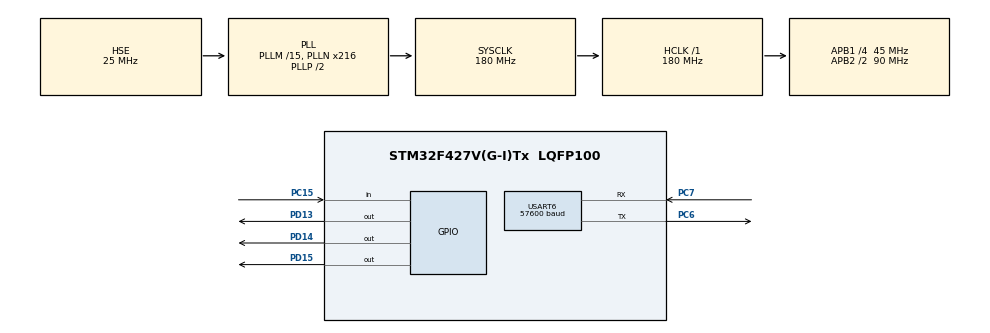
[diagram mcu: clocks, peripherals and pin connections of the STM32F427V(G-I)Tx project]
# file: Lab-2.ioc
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Mcu.Family=STM32F4
Mcu.Name=STM32F427V(G-I)Tx
Mcu.Package=LQFP100
NVIC.PriorityGroup=NVIC_PRIORITYGROUP_4
NVIC.USART6_IRQn=true\:0\:0\:false\:false\:true\:true\:true\:true
PA13.Mode=JTAG_5_pins
PA13.Signal=SYS_JTMS-SWDIO
PA14.Mode=JTAG_5_pins
PA14.Signal=SYS_JTCK-SWCLK
PA15.Mode=JTAG_5_pins
PA15.Signal=SYS_JTDI
PB3.Mode=JTAG_5_pins
PB3.Signal=SYS_JTDO-SWO
PB4.Mode=JTAG_5_pins
PB4.Signal=SYS_JTRST
PC15/OSC32_OUT.Signal=GPIO_Input
PC6.Mode=Asynchronous
PC6.Signal=USART6_TX
PC7.Mode=Asynchronous
PC7.Signal=USART6_RX
PD13.Signal=GPIO_Output
PD14.Signal=GPIO_Output
PD15.Signal=GPIO_Output
PH0/OSC_IN.Mode=HSE-External-Oscillator
PH0/OSC_IN.Signal=RCC_OSC_IN
PH1/OSC_OUT.Mode=HSE-External-Oscillator
PH1/OSC_OUT.Signal=RCC_OSC_OUT
ProjectManager.HeapSize=0x200
ProjectManager.StackSize=0x400
ProjectManager.TargetToolchain=STM32CubeIDE
RCC.48MHZClocksFreq_Value=90000000
RCC.AHBFreq_Value=180000000
RCC.APB1CLKDivider=RCC_HCLK_DIV4
RCC.APB1Freq_Value=45000000
RCC.APB1TimFreq_Value=90000000
RCC.APB2CLKDivider=RCC_HCLK_DIV2
RCC.APB2Freq_Value=90000000
RCC.APB2TimFreq_Value=180000000
RCC.CortexFreq_Value=180000000
RCC.HCLKFreq_Value=180000000
RCC.HSE_VALUE=25000000
RCC.HSI_VALUE=16000000
RCC.LSE_VALUE=32768
RCC.PLLM=15
RCC.PLLN=216
RCC.PLLSourceVirtual=RCC_PLLSOURCE_HSE
RCC.SYSCLKFreq_VALUE=180000000
RCC.SYSCLKSource=RCC_SYSCLKSOURCE_PLLCLK
RCC.VCOOutputFreq_Value=360000000
USART6.BaudRate=57600
USART6.VirtualMode=VM_ASYNC
board=custom

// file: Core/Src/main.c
/* USER CODE BEGIN Header */
/**
  ******************************************************************************
  * @file           : main.c
  * @brief          : Main program body
  ******************************************************************************
  * @attention
  *
  * Copyright (c) 2023 STMicroelectronics.
  * All rights reserved.
  *
  * This software is licensed under terms that can be found in the LICENSE file
  * in the root directory of this software component.
  * If no LICENSE file comes with this software, it is provided AS-IS.
  *
  ******************************************************************************
  */
/* USER CODE END Header */
#include "main.h"
#include "usart.h"
#include "gpio.h"

/* USER CODE BEGIN Includes */
#include <string.h>
#include <stdio.h>

/* USER CODE END Includes */

/* USER CODE BEGIN PV */
uint16_t GREEN = GPIO_PIN_13;
uint16_t YELLOW = GPIO_PIN_14;
uint16_t RED = GPIO_PIN_15;
uint16_t BLINKING_GREEN = 0;
uint8_t INT_ON = 1;
uint8_t INT_OFF = 0;

uint16_t current_light = 1;
uint32_t start_time;
uint32_t duration = 3000;
uint32_t duration_for_red;
uint32_t duration_for_yellow = 3000;
uint32_t blink_duration = 500;
uint32_t blink_count = 6;
uint8_t button_flag = 0;

uint8_t interrupts_mode = 1;
uint8_t is_writing_now = 0;
char read_buffer[100];
char write_buffer[100];
uint8_t status;
char *cur_process_char = read_buffer;
char *cur_read_char = read_buffer;
char *transmit_from_pointer = write_buffer;
char *write_to_pointer = write_buffer;

/* USER CODE END PV */

void SystemClock_Config(void);

/* USER CODE BEGIN 0 */

void wait(uint32_t duration) {
    uint32_t startTime = HAL_GetTick();
    while ((HAL_GetTick() - startTime) < duration) {
    }
}

void turn_all_off() {
    HAL_GPIO_WritePin(GPIOD, GPIO_PIN_13, GPIO_PIN_RESET);
    HAL_GPIO_WritePin(GPIOD, GPIO_PIN_14, GPIO_PIN_RESET);
    HAL_GPIO_WritePin(GPIOD, GPIO_PIN_15, GPIO_PIN_RESET);
}

void turn_specific_light_on(uint16_t light) {
    turn_all_off();
    HAL_GPIO_WritePin(GPIOD, light, GPIO_PIN_SET);
}

void blink_specific_light(uint32_t count, uint16_t light, uint32_t blinkDuration) {
    for (uint32_t i = 0; i < count; i++) {

        turn_all_off();
        wait(blinkDuration);

        turn_specific_light_on(light);
        wait(blinkDuration);
    }
}

int check_starts_with(char *a, char *b) {
    size_t i = 0;
    while (a[i] != '\0') {
        if (a[i] != b[i]) return 0;
        i++;
    }
    return 1;
}

char *concat(char *s1, char *s2) {
    char *result = malloc(strlen(s1) + strlen(s2) + 1);
    strcpy(result, s1);
    strcat(result, s2);
    return result;
}

void next(char **pointer, char *buffer) {
    if (*pointer >= buffer + 100) {
        *pointer = buffer;
    } else {
        (*pointer)++;
    }
}

void write_char_to_buff(char c) {
    *write_to_pointer = c;
    next(&write_to_pointer, write_buffer);
}

void append_to_sending_buffer_by_uart(char *str) {
    char *str_with_newlines = concat("\r\n", str);
    str_with_newlines = concat(str_with_newlines, "\r\n");
    int size = sizeof(char) * strlen(str_with_newlines);
    if (interrupts_mode == 0) {
        HAL_UART_Transmit(&huart6, (uint8_t *) str_with_newlines, size, 10);
    } else {
        for (size_t i = 0; str_with_newlines[i] != '\0'; i++) {
            write_char_to_buff(str_with_newlines[i]);
        }
    }
}

void write_about_info_command() {
    char answer[100];
    char *light;
    switch (current_light) {
        case GPIO_PIN_15:
            light = "red";
            break;
        case GPIO_PIN_14:
            light = "yellow";
            break;
        case GPIO_PIN_13:
            light = "green";
            break;
        case 0:
            light = "blinking green";
            break;
    }
    uint8_t mode;
    char interrupts;
    if (button_flag == 0) {
        mode = 1;
    } else {
        mode = 2;
    }
    if (interrupts_mode == 1) {
        interrupts = 'I';
    } else {
        interrupts = 'P';
    }

    sprintf(answer, "Light: %s, Mode: %d, Timeout: %d, Interrupts: %c", light, mode, duration * 4, interrupts);
    append_to_sending_buffer_by_uart(answer);
}

void write_command_not_found() {
    char *str = "Invalid command. You can use: '?', set mode 1/2, set timeout X, set interrupts on/off";
    append_to_sending_buffer_by_uart(str);
}

int parse_number(char *str) {
    for (size_t i = 0; str[i] != '\0'; i++) {
        if (!isdigit(str[i])) return 0;
    }
    return 1;
}

void parse_symbol_if_available() {
    if (*cur_process_char == '\r') {
        *cur_process_char = '\0';

        char *command = strtok(read_buffer, " ");
        if (strcmp(command, "?") == 0) {
            write_about_info_command();
        } else if (strcmp(command, "set") == 0) {
            char *first_arg = strtok(NULL, " ");
            if (strcmp(first_arg, "mode") == 0) {
                char *mode = strtok(NULL, " ");
                if (strcmp(mode, "1") == 0) {
                    button_flag = 0;
//                    duration_for_red = duration * 4;
                    append_to_sending_buffer_by_uart("Set mode 1. Not ignoring btn");
                } else if (strcmp(mode, "2") == 0) {
                    button_flag = 1;
                    duration_for_red = 4 * duration;
                    append_to_sending_buffer_by_uart("Set mode 2. Ignored btn at all.");
                } else {
                    write_command_not_found();
                }
            } else if (strcmp(first_arg, "timeout") == 0) {
                char *timeout = strtok(NULL, " ");
                if (parse_number(timeout)) {
                    int new_dur = atoi(timeout) * 1000;
                    if (duration_for_red == duration) {
                        duration_for_red = new_dur / 4;
                    } else {
                        duration_for_red = new_dur;
                    }
                    append_to_sending_buffer_by_uart(concat("New duration is ", timeout));
                    duration = new_dur / 4;
                } else {
                    write_command_not_found();
                }
            } else if (strcmp(first_arg, "interrupts") == 0) {
                char *interrupts = strtok(NULL, " ");
                if (strcmp(interrupts, "on") == 0) {
                    interrupts_mode = 1;
                    transmit_from_pointer = write_to_pointer;
                    cur_read_char = read_buffer;
                    append_to_sending_buffer_by_uart("Interrupt mode on");
                    HAL_UART_Receive_IT(&huart6, (uint8_t *) cur_read_char, sizeof(char));
                } else if (strcmp(interrupts, "off") == 0) {
                    interrupts_mode = 0;
                    HAL_UART_Abort_IT(&huart6);
                    append_to_sending_buffer_by_uart("Interrupt mode off");
                } else {
                    write_command_not_found();
                }
            } else {
                write_command_not_found();
            }
        } else {
            write_command_not_found();
        }
        cur_process_char = read_buffer;
    } else {
        next(&cur_process_char, read_buffer);
    }
}

//
//void turn_red_light_on() {
//    HAL_GPIO_WritePin(GPIOD, GPIO_PIN_14, GPIO_PIN_RESET);
//    HAL_GPIO_WritePin(GPIOD, GPIO_PIN_15, GPIO_PIN_SET);
//}
//
//void turn_yellow_light_on() {
//    HAL_GPIO_WritePin(GPIOD, GPIO_PIN_14, GPIO_PIN_SET);
//    HAL_GPIO_WritePin(GPIOD, GPIO_PIN_15, GPIO_PIN_RESET);
//}
//
//void turn_red_and_yellow_lights_off() {
//    HAL_GPIO_WritePin(GPIOD, GPIO_PIN_14, GPIO_PIN_RESET);
//    HAL_GPIO_WritePin(GPIOD, GPIO_PIN_15, GPIO_PIN_RESET);
//}
//
//void turn_green_light_on() {
//    HAL_GPIO_WritePin(GPIOD, GPIO_PIN_13, GPIO_PIN_SET);
//}
//
void turn_green_light_off() {
    HAL_GPIO_WritePin(GPIOD, GPIO_PIN_13, GPIO_PIN_RESET);
}

//
//uint32_t get_passed_time(uint32_t startLoopTime) {
//    return HAL_GetTick() - startLoopTime;
//}
//
uint8_t get_BTN() {
    return HAL_GPIO_ReadPin(GPIOC, GPIO_PIN_15);
}

/* USER CODE END 0 */

int main(void) {

    /* MCU Configuration--------------------------------------------------------*/

    /* Reset of all peripherals, Initializes the Flash interface and the Systick. */
    HAL_Init();

    /* Configure the system clock */
    SystemClock_Config();

    /* Initialize all configured peripherals */
    MX_GPIO_Init();
    MX_USART6_UART_Init();
    /* USER CODE BEGIN 2 */

    duration_for_red = 4 * duration;
    _Bool nBTN = 0;
    if (interrupts_mode == 1) {
        HAL_UART_Receive_IT(&huart6, (uint8_t *) cur_read_char, sizeof(char));
    }
    /* USER CODE END 2 */

    /* Infinite loop */
    /* USER CODE BEGIN WHILE */
    while (1) {
        //HAL_UART_Receive_IT(&huart6, (uint8_t *) s, sizeof( char ));
        //HAL_UART_Transmit_IT( &huart6, (uint8_t *) s, sizeof( s ));
        /* USER CODE END WHILE */

        /* USER CODE BEGIN 3 */
        switch (interrupts_mode) {
            case 1:
                if (cur_process_char != cur_read_char) {
                    parse_symbol_if_available();
                }
                if (is_writing_now == 0) {
                    if (transmit_from_pointer != write_to_pointer) {
                        is_writing_now = 1;
                        HAL_UART_Transmit_IT(&huart6, (uint8_t *) transmit_from_pointer, sizeof(char));
                    }
                }
                break;
            case 0:
                status = HAL_UART_Receive(&huart6, (uint8_t *) cur_process_char, sizeof(char), 100);
                if (status == HAL_OK) {
                    HAL_UART_Transmit(&huart6, (uint8_t *) cur_process_char, sizeof(char), 10);
                    parse_symbol_if_available();
                }
                break;
        }

        switch (current_light) {
            case GPIO_PIN_15:
                if (!nBTN && get_BTN() == 0 && button_flag == 0) {
                    nBTN = 1;
                    duration_for_red = duration;
                }
                if ((HAL_GetTick() - start_time) >= duration_for_red) {
                    current_light = GREEN;
                    duration_for_red = 4 * duration;
                    nBTN = 0;
                    turn_specific_light_on(GREEN);
//                    write("start to delay of 10 sec\n");
//                    HAL_Delay(10000);
//                    write("end of waiting HAL_Delay()\n");
                    start_time = HAL_GetTick();
                }
                break;
            case GPIO_PIN_14:
                if (!nBTN && get_BTN() == 0 && button_flag == 0) {
                    nBTN = 1;
                    duration_for_red = duration;
                }
                if ((HAL_GetTick() - start_time) >= duration_for_yellow) {
                    current_light = RED;
                    turn_specific_light_on(RED);
                    start_time = HAL_GetTick();
                }
                break;
            case GPIO_PIN_13:
                if ((HAL_GetTick() - start_time) >= duration) {
                    current_light = BLINKING_GREEN;
//                    blink_count = 3;
                    turn_all_off();
                    start_time = HAL_GetTick();
                }
                break;
            case 0:
                if (!nBTN && get_BTN() == 0 && button_flag == 0) {
                    nBTN = 1;
                    duration_for_red = duration;
                }
                if ((HAL_GetTick() - start_time) >= blink_duration) {
                    if (blink_count > 0) {
                        if (blink_count % 2 == 0) {
                            turn_specific_light_on(GREEN);
                            blink_count--;
                            start_time = HAL_GetTick();
                        } else {
                            turn_green_light_off();
                            blink_count--;
                            start_time = HAL_GetTick();
                        }
                    } else {
                        blink_count = 6;
                        current_light = YELLOW;
                        turn_specific_light_on(YELLOW);
                        start_time = HAL_GetTick();
                    }
                }
                break;
            default:
                current_light = RED;
                turn_specific_light_on(RED);
                start_time = HAL_GetTick();
        }
    }
    /* USER CODE END 3 */
}

void SystemClock_Config(void) {
    RCC_OscInitTypeDef RCC_OscInitStruct = {0};
    RCC_ClkInitTypeDef RCC_ClkInitStruct = {0};

    /** Configure the main internal regulator output voltage
    */
    __HAL_RCC_PWR_CLK_ENABLE();
    __HAL_PWR_VOLTAGESCALING_CONFIG(PWR_REGULATOR_VOLTAGE_SCALE1);

    /** Initializes the RCC Oscillators according to the specified parameters
    * in the RCC_OscInitTypeDef structure.
    */
    RCC_OscInitStruct.OscillatorType = RCC_OSCILLATORTYPE_HSE;
    RCC_OscInitStruct.HSEState = RCC_HSE_ON;
    RCC_OscInitStruct.PLL.PLLState = RCC_PLL_ON;
    RCC_OscInitStruct.PLL.PLLSource = RCC_PLLSOURCE_HSE;
    RCC_OscInitStruct.PLL.PLLM = 15;
    RCC_OscInitStruct.PLL.PLLN = 216;
    RCC_OscInitStruct.PLL.PLLP = RCC_PLLP_DIV2;
    RCC_OscInitStruct.PLL.PLLQ = 4;
    if (HAL_RCC_OscConfig(&RCC_OscInitStruct) != HAL_OK) {
        Error_Handler();
    }

    /** Activate the Over-Drive mode
    */
    if (HAL_PWREx_EnableOverDrive() != HAL_OK) {
        Error_Handler();
    }

    /** Initializes the CPU, AHB and APB buses clocks
    */
    RCC_ClkInitStruct.ClockType = RCC_CLOCKTYPE_HCLK | RCC_CLOCKTYPE_SYSCLK
                                  | RCC_CLOCKTYPE_PCLK1 | RCC_CLOCKTYPE_PCLK2;
    RCC_ClkInitStruct.SYSCLKSource = RCC_SYSCLKSOURCE_PLLCLK;
    RCC_ClkInitStruct.AHBCLKDivider = RCC_SYSCLK_DIV1;
    RCC_ClkInitStruct.APB1CLKDivider = RCC_HCLK_DIV4;
    RCC_ClkInitStruct.APB2CLKDivider = RCC_HCLK_DIV2;

    if (HAL_RCC_ClockConfig(&RCC_ClkInitStruct, FLASH_LATENCY_5) != HAL_OK) {
        Error_Handler();
    }
}

/* USER CODE BEGIN 4 */
void HAL_UART_RxCpltCallback(UART_HandleTypeDef *huart) {
    if (huart->Instance == huart6.Instance) {
        if (*cur_read_char == '\r') {
            cur_read_char = read_buffer;
        } else {
            write_char_to_buff(*cur_read_char);
            next(&cur_read_char, read_buffer);
        }
        if (interrupts_mode == 1)
            HAL_UART_Receive_IT(&huart6, (uint8_t *) cur_read_char, sizeof(char));
    }
}

void HAL_UART_TxCpltCallback(UART_HandleTypeDef *huart) {
    if (huart->Instance == huart6.Instance) {
        is_writing_now = 0;
        next(&transmit_from_pointer, write_buffer);
    }
}

/* USER CODE END 4 */

void Error_Handler(void) {
    __disable_irq();
    while (1) {
    }
}
